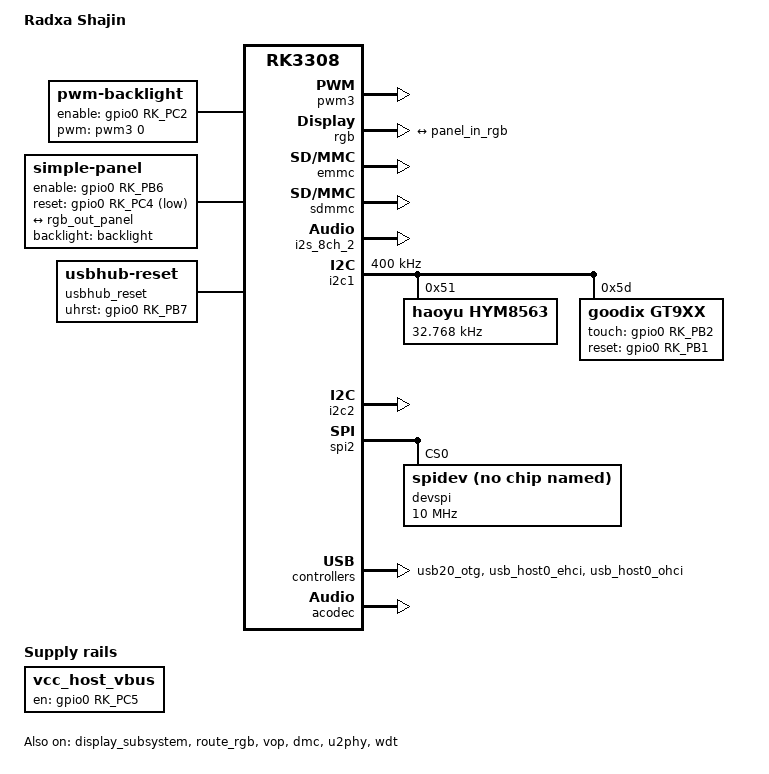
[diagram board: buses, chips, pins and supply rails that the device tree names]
// SPDX-License-Identifier: (GPL-2.0+ OR MIT)
/*
 * Copyright (c) 2018 Fuzhou Rockchip Electronics Co., Ltd
 */

/dts-v1/;

#include "rk3308-rock-pi-s-core-evb.dtsi"

/ {
	model = "Radxa Shajin";
	compatible = "radxa,shajin", "rockchip,rk3308";

	backlight: backlight {
		status = "okay";
		compatible = "pwm-backlight";
		pwms = <&pwm3 0 25000 1>;
		brightness-levels = <1 2 3 4 5 6>;
		default-brightness-level = <4>;
		enable-gpios = <&gpio0 RK_PC2 GPIO_ACTIVE_HIGH>;
	};

	panel: panel {
		compatible = "simple-panel";
		bus-format = <MEDIA_BUS_FMT_RGB666_1X18>;
		backlight = <&backlight>;
		enable-gpios = <&gpio0 RK_PB6 GPIO_ACTIVE_HIGH>;
		enable-delay-ms = <20>;
		reset-gpios = <&gpio0 RK_PC4 GPIO_ACTIVE_LOW>;
		reset-delay-ms = <10>;
		prepare-delay-ms = <20>;
		unprepare-delay-ms = <20>;
		disable-delay-ms = <20>;
		width-mm = <108>;
		height-mm = <64>;
		status = "okay";

		display-timings {
			native-mode = <&hq050wvg001_timing>;

			hq050wvg001_timing: timing0 {
				clock-frequency = <30000000>;
				hactive = <800>;
				vactive = <480>;
				hback-porch = <60>;
				hfront-porch = <20>;
				vback-porch = <28>;
				vfront-porch = <20>;
				hsync-len = <20>;
				vsync-len = <20>;
				hsync-active = <0>;
				vsync-active = <0>;
				de-active = <0>;
				pixelclk-active = <0>;
			};
		};

		port {
			panel_in_rgb: endpoint {
				remote-endpoint = <&rgb_out_panel>;
			};
		};
	};

	usbhub_reset: usbhub-reset {
		compatible = "usbhub-reset";
		uhrst-gpio = <&gpio0 RK_PB7 GPIO_ACTIVE_HIGH>;
	};

	vcc_host_vbus: vcc-host-vbus {
		compatible = "regulator-fixed";
		enable-active-high;
		gpio = <&gpio0 RK_PC5 GPIO_ACTIVE_HIGH>;
		pinctrl-names = "default";
		pinctrl-0 = <&host_vbus_drv>;
		regulator-name = "vcc_host_vbus";
	};
};

&display_subsystem {
	status = "okay";
};

&pwm3 {
	status = "okay";
};

&rgb {
	status = "okay";
	pinctrl-names = "default";
	pinctrl-0 = <&lcdc_ctl>;

	ports {
		rgb_out: port@1 {
			reg = <1>;
			#address-cells = <1>;
			#size-cells = <0>;

			rgb_out_panel: endpoint@0 {
				reg = <0>;
				remote-endpoint = <&panel_in_rgb>;
			};
		};
	};
};

&route_rgb {
	status = "okay";
};

&vop {
	status = "okay";
};

&dmc {
	center-supply = <&vdd_log>;
	status = "okay";
};

&emmc {
	status = "okay";
};

&sdmmc {
	status = "okay";
};

&i2s_8ch_2 {
	status = "okay";
	#sound-dai-cells = <0>;
};

&u2phy {
	status = "okay";

	u2phy_host: host-port {
		phy-supply = <&vcc_host_vbus>;
		status = "okay";
	};

	u2phy_otg: otg-port {
		vbus-supply = <&vcc_host_vbus>;
		status = "okay";
	};
};

&i2c1 {
	status = "okay";
	clock-frequency = <400000>;
	#address-cells = <1>;
	#size-cells = <0>;

	hym8563: hym8563@51 {
		compatible = "haoyu,hym8563";
		reg = <0x51>;
		#clock-cells = <0>;
		clock-frequency = <32768>;
		clock-output-names = "xin32k";
		status = "okay";
	};

	gt9xx: gt9xx@5d {
		status = "okay";
		compatible = "goodix,gt9xx";
		reg = <0x5d>;
		touch-gpio = <&gpio0 RK_PB2 IRQ_TYPE_LEVEL_LOW>;
		reset-gpio = <&gpio0 RK_PB1 GPIO_ACTIVE_HIGH>;
		max-x = <800>;
		max-y = <480>;
		tp-size = <911>;
	};
};

&i2c2 {
	status = "okay";
};

&spi2 {
	status = "okay";
	#address-cells = <1>;
	#size-cells = <0>;
	max-freq = <50000000>;

	devspi@0 {
		compatible ="rockchip,spidev";
		reg = <0>;
		spi-max-frequency = <10000000>;
		status = "okay";
	};
};

&usb20_otg {
	status = "okay";
};

&usb_host0_ehci {
	status = "okay";
};

&usb_host0_ohci{
	status = "okay";
};

&acodec {
	status = "okay";
};

&wdt {
	status = "okay";
};

&pinctrl {
	usb {
		host_vbus_drv: host-vbus-drv {
			rockchip,pins = <0 RK_PC5 RK_FUNC_GPIO &pcfg_pull_none>;
		};
	};
};

/* DON'T PUT ANYTHING BELOW HERE.  PUT IT ABOVE PINCTRL */
/* DON'T PUT ANYTHING BELOW HERE.  PUT IT ABOVE PINCTRL */
/* DON'T PUT ANYTHING BELOW HERE.  PUT IT ABOVE PINCTRL */
